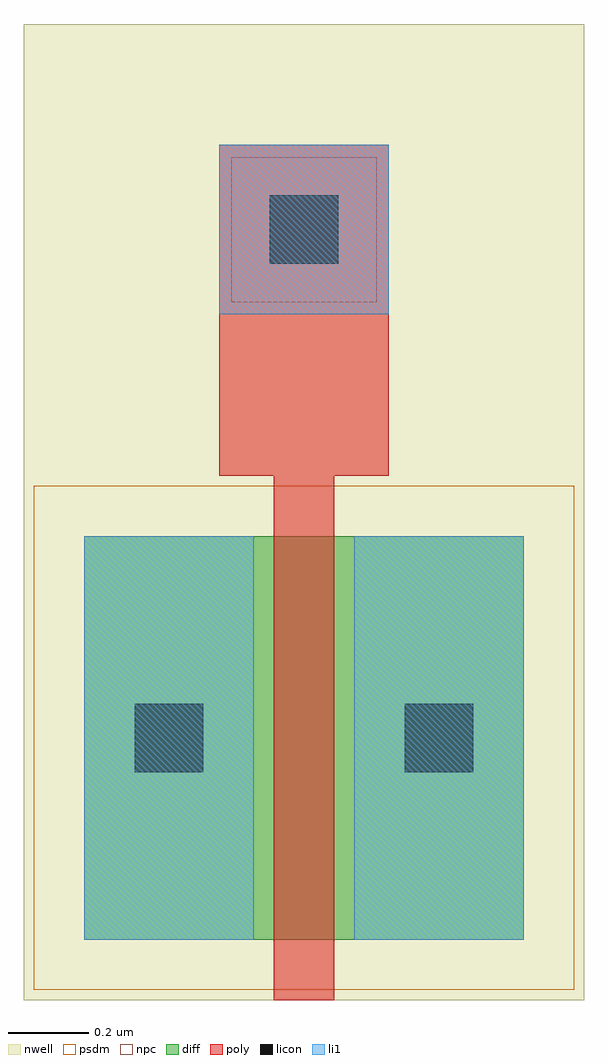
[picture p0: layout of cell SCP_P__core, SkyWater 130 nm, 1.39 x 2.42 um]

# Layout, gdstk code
import gdstk
lib = gdstk.Library(unit=1e-6, precision=1e-09)
def R(c, l, rs):  # rectangles x0, y0, x1, y1
    for r in rs: c.add(gdstk.rectangle(r[:2], r[2:], *l))
nwell = (64, 20)
diff = (65, 20)
poly = (66, 20)
licon = (66, 44)
li1 = (67, 20)
psdm = (94, 20)
npc = (95, 20)

scp_p__core = lib.new_cell('SCP_P__core')
R(scp_p__core, nwell, [(-0.15,-0.15,1.24,2.27)])
R(scp_p__core, diff, [(0,0,1.09,1)])
R(scp_p__core, poly, [(0.47,-0.15,0.62,1), (0.47,1,0.62,1.15), (0.47,1,0.62,1.15), (0.335,1.15,0.755,1.97)])
R(scp_p__core, licon, [(0.125,0.415,0.295,0.585), (0.795,0.415,0.965,0.585), (0.46,1.675,0.63,1.845)])
R(scp_p__core, li1, [(0,0,0.42,1), (0.67,0,1.09,1), (0.335,1.55,0.755,1.97)])
R(scp_p__core, psdm, [(-0.125,-0.125,1.215,1.125)])
R(scp_p__core, npc, [(0.365,1.58,0.725,1.94)])

lib.write_gds('SCP_P__core.gds')
